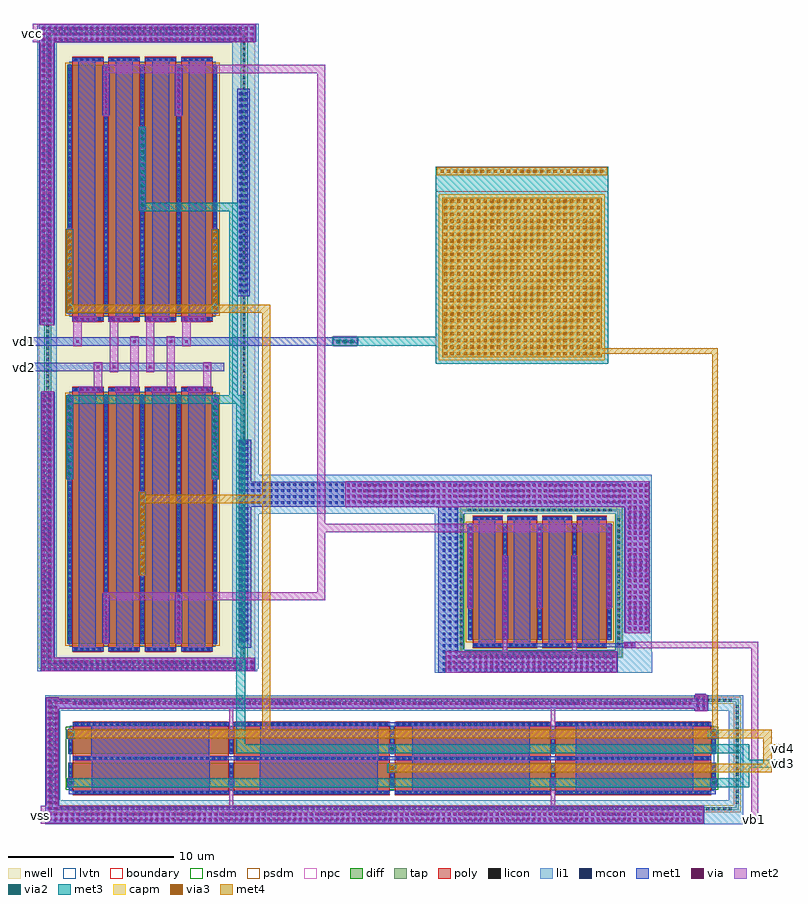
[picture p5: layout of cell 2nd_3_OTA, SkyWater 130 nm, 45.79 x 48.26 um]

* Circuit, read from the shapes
.subckt 2nd_3_OTA vb1 vcc vd1 vd2 vd3 vd4 vss
XM1 vss vd3 vd3 vss sky130_fd_pr__nfet_01v8_lvt w=1.5 l=9.4 m=4
XM2 vss vd3 vd4 vss sky130_fd_pr__nfet_01v8_lvt w=1.5 l=9.4 m=4
XM3 n1 vd2 vd3 vcc sky130_fd_pr__pfet_01v8_lvt w=15 l=1.9 m=4
XM4 n1 vd1 vd4 vcc sky130_fd_pr__pfet_01v8_lvt w=15 l=1.9 m=4
XM5 vcc vb1 n1 vcc sky130_fd_pr__pfet_01v8 w=7 l=1.8 m=4
XC6 vd4 vd1 sky130_fd_pr__cap_mim_m3_1 w=10 l=10
.ends

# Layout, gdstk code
from math import pi, radians
import gdstk
lib = gdstk.Library(unit=1e-6, precision=1e-09)
def R(c, l, rs):  # rectangles x0, y0, x1, y1
    for r in rs: c.add(gdstk.rectangle(r[:2], r[2:], *l))
def A(c, l, x, y, w, h, nx, ny, dx, dy):  # array of equal rectangles
    R(c, l, [(x+i*dx, y+j*dy, x+i*dx+w, y+j*dy+h) for i in range(nx) for j in range(ny)])
nwell = (64, 20)
diff = (65, 20)
tap = (65, 44)
poly = (66, 20)
licon = (66, 44)
li1 = (67, 20)
mcon = (67, 44)
met1 = (68, 20)
via = (68, 44)
met2 = (69, 20)
via2 = (69, 44)
met3 = (70, 20)
via3 = (70, 44)
met4 = (71, 20)
capm = (89, 44)
nsdm = (93, 44)
psdm = (94, 20)
npc = (95, 20)
lvtn = (125, 44)
boundary = (235, 4)

sky130_fd_pr__nfet_01v8_ = lib.new_cell('sky130_fd_pr__nfet_01v8_lvt_AR4WA2')
R(sky130_fd_pr__nfet_01v8_, diff, [(-4.99,-0.75,4.99,0.75)])
R(sky130_fd_pr__nfet_01v8_, poly, [(-4.7,-1.19,4.7,1.19)])
A(sky130_fd_pr__nfet_01v8_, licon, -4.505, -1.11, 0.17, 0.17, 27, 2, 0.34, 2.05)
A(sky130_fd_pr__nfet_01v8_, licon, -4.93, -0.595, 0.17, 0.17, 1, 4, 0, 0.34)
A(sky130_fd_pr__nfet_01v8_, licon, 4.76, -0.595, 0.17, 0.17, 1, 4, 0, 0.34)
R(sky130_fd_pr__nfet_01v8_, li1, [(-4.7,-1.11,4.7,-0.94), (-4.93,-0.77,-4.76,0.77), (4.76,-0.77,4.93,0.77), (-4.7,0.94,4.7,1.11)])
A(sky130_fd_pr__nfet_01v8_, mcon, -4.585, -1.11, 0.17, 0.17, 26, 2, 0.36, 2.05)
A(sky130_fd_pr__nfet_01v8_, mcon, -4.93, -0.625, 0.17, 0.17, 1, 4, 0, 0.36)
A(sky130_fd_pr__nfet_01v8_, mcon, 4.76, -0.625, 0.17, 0.17, 1, 4, 0, 0.36)
R(sky130_fd_pr__nfet_01v8_, met1, [(-4.68,-1.14,4.68,-0.91), (-4.96,-0.75,-4.73,0.75), (4.73,-0.75,4.96,0.75), (-4.68,0.91,4.68,1.14)])
R(sky130_fd_pr__nfet_01v8_, nsdm, [(-5.115,-0.875,5.115,0.875)])
R(sky130_fd_pr__nfet_01v8_, npc, [(-4.605,-1.21,4.605,-0.84), (-4.605,0.84,4.605,1.21)])
R(sky130_fd_pr__nfet_01v8_, lvtn, [(-4.88,-0.93,4.88,0.93)])

sky130_fd_pr__pfet_01v8_ = lib.new_cell('sky130_fd_pr__pfet_01v8_lvt_NH7ZMU')
R(sky130_fd_pr__pfet_01v8_, nwell, [(-1.42,-8,1.42,8)])
R(sky130_fd_pr__pfet_01v8_, diff, [(-1.24,-7.5,1.24,7.5)])
R(sky130_fd_pr__pfet_01v8_, poly, [(-0.95,-7.985,0.95,7.985)])
A(sky130_fd_pr__pfet_01v8_, licon, -0.765, -7.905, 0.17, 0.17, 5, 2, 0.34, 15.64)
A(sky130_fd_pr__pfet_01v8_, licon, -1.18, -7.395, 0.17, 0.17, 1, 44, 0, 0.34)
A(sky130_fd_pr__pfet_01v8_, licon, 1.01, -7.395, 0.17, 0.17, 1, 44, 0, 0.34)
R(sky130_fd_pr__pfet_01v8_, li1, [(-0.95,-7.905,0.95,-7.735), (-1.18,-7.52,-1.01,7.52), (1.01,-7.52,1.18,7.52), (-0.95,7.735,0.95,7.905)])
A(sky130_fd_pr__pfet_01v8_, mcon, -0.805, -7.905, 0.17, 0.17, 5, 2, 0.36, 15.64)
A(sky130_fd_pr__pfet_01v8_, mcon, -1.18, -7.285, 0.17, 0.17, 1, 41, 0, 0.36)
A(sky130_fd_pr__pfet_01v8_, mcon, 1.01, -7.285, 0.17, 0.17, 1, 41, 0, 0.36)
R(sky130_fd_pr__pfet_01v8_, met1, [(-0.93,-7.935,0.93,-7.705), (-1.21,-7.5,-0.98,7.5), (0.98,-7.5,1.21,7.5), (-0.93,7.705,0.93,7.935)])
R(sky130_fd_pr__pfet_01v8_, psdm, [(-1.365,-7.625,1.365,7.625)])
R(sky130_fd_pr__pfet_01v8_, npc, [(-0.865,-8.005,0.865,-7.635), (-0.865,7.635,0.865,8.005)])
R(sky130_fd_pr__pfet_01v8_, lvtn, [(-1.13,-7.68,1.13,7.68)])

c_sky130_fd_pr__pfet_01v8_ = lib.new_cell('sky130_fd_pr__pfet_01v8_6JHA76')
R(c_sky130_fd_pr__pfet_01v8_, nwell, [(-5.015,-4.595,5.015,4.595)])
R(c_sky130_fd_pr__pfet_01v8_, diff, [(-4.325,-3.5,4.325,3.5)])
R(c_sky130_fd_pr__pfet_01v8_, tap, [(-4.835,-4.415,4.835,-4.245), (-4.835,-4.245,-4.665,4.245), (4.665,-4.245,4.835,4.245), (-4.835,4.245,4.835,4.415)])
A(c_sky130_fd_pr__pfet_01v8_, poly, -4.035, -3.985, 1.8, 7.97, 4, 1, 2.09, 0)
A(c_sky130_fd_pr__pfet_01v8_, licon, -4.335, -4.415, 0.17, 0.17, 26, 2, 0.34, 8.66)
A(c_sky130_fd_pr__pfet_01v8_, licon, -3.9, -3.905, 0.17, 0.17, 5, 2, 0.34, 7.64)
A(c_sky130_fd_pr__pfet_01v8_, licon, -1.81, -3.905, 0.17, 0.17, 5, 2, 0.34, 7.64)
A(c_sky130_fd_pr__pfet_01v8_, licon, 0.28, -3.905, 0.17, 0.17, 5, 2, 0.34, 7.64)
A(c_sky130_fd_pr__pfet_01v8_, licon, 2.37, -3.905, 0.17, 0.17, 5, 2, 0.34, 7.64)
A(c_sky130_fd_pr__pfet_01v8_, licon, -4.835, -3.825, 0.17, 0.17, 1, 23, 0, 0.34)
A(c_sky130_fd_pr__pfet_01v8_, licon, 4.665, -3.825, 0.17, 0.17, 1, 23, 0, 0.34)
A(c_sky130_fd_pr__pfet_01v8_, licon, -4.265, -3.315, 0.17, 0.17, 5, 20, 2.09, 0.34)
A(c_sky130_fd_pr__pfet_01v8_, li1, -4.035, -3.905, 1.8, 0.17, 4, 2, 2.09, 7.64)
A(c_sky130_fd_pr__pfet_01v8_, li1, -4.265, -3.52, 0.17, 7.04, 5, 1, 2.09, 0)
R(c_sky130_fd_pr__pfet_01v8_, li1, [(-4.835,-4.415,4.835,-4.245), (-4.835,-4.245,-4.665,4.245), (4.665,-4.245,4.835,4.245), (-4.835,4.245,4.835,4.415)])
A(c_sky130_fd_pr__pfet_01v8_, mcon, -3.94, -3.905, 0.17, 0.17, 5, 2, 0.36, 7.64)
A(c_sky130_fd_pr__pfet_01v8_, mcon, -1.85, -3.905, 0.17, 0.17, 5, 2, 0.36, 7.64)
A(c_sky130_fd_pr__pfet_01v8_, mcon, 0.24, -3.905, 0.17, 0.17, 5, 2, 0.36, 7.64)
A(c_sky130_fd_pr__pfet_01v8_, mcon, 2.33, -3.905, 0.17, 0.17, 5, 2, 0.36, 7.64)
A(c_sky130_fd_pr__pfet_01v8_, mcon, -4.265, -3.325, 0.17, 0.17, 5, 19, 2.09, 0.36)
A(c_sky130_fd_pr__pfet_01v8_, met1, -4.015, -3.935, 1.76, 0.23, 4, 2, 2.09, 7.64)
A(c_sky130_fd_pr__pfet_01v8_, met1, -4.295, -3.5, 0.23, 7, 5, 1, 2.09, 0)
R(c_sky130_fd_pr__pfet_01v8_, nsdm, [(-4.96,-4.54,4.96,-4.12), (-4.96,-4.12,-4.54,4.12), (4.54,-4.12,4.96,4.12), (-4.96,4.12,4.96,4.54)])
R(c_sky130_fd_pr__pfet_01v8_, psdm, [(-4.45,-3.625,4.45,3.625)])
A(c_sky130_fd_pr__pfet_01v8_, npc, -4, -4.005, 1.73, 0.37, 4, 2, 2.09, 7.64)
R(c_sky130_fd_pr__pfet_01v8_, boundary, [(-4.75,-4.33,4.75,4.33)])

sky130_fd_pr__cap_mim_m3 = lib.new_cell('sky130_fd_pr__cap_mim_m3_1_FGZHLY')
R(sky130_fd_pr__cap_mim_m3, met3, [(-5.93,-5.2,5.93,5.2)])
A(sky130_fd_pr__cap_mim_m3, via3, 5.57, -4.9, 0.2, 0.2, 1, 25, 0, 0.4)
A(sky130_fd_pr__cap_mim_m3, via3, -5.43, -4.7, 0.2, 0.2, 24, 24, 0.4, 0.4)
R(sky130_fd_pr__cap_mim_m3, met4, [(5.43,-5.14,5.91,5.14), (-5.535,-4.805,4.075,4.805)])
R(sky130_fd_pr__cap_mim_m3, capm, [(-5.73,-5,4.27,5)])
R(sky130_fd_pr__cap_mim_m3, boundary, [(-5.93,-5.2,4.47,5.2)])

c_2nd_3_ota = lib.new_cell('2nd_3_OTA')
R(c_2nd_3_ota, nwell, [(32.36,-16.31,45.425,22.485)])
R(c_2nd_3_ota, tap, [(33.085,-24.825,74.53,-24.655), (33.085,-24.655,33.255,-18.28), (74.36,-24.655,74.53,-18.28), (33.085,-18.28,74.53,-18.11), (32.825,-16.12,44.825,-15.95), (32.825,-15.95,32.995,21.985), (44.655,-15.95,44.825,21.985), (32.825,21.985,44.825,22.155)])
A(c_2nd_3_ota, licon, 33.49, -24.825, 0.17, 0.17, 120, 2, 0.34, 6.545)
A(c_2nd_3_ota, licon, 33.085, -24.445, 0.17, 0.17, 1, 18, 0, 0.34)
A(c_2nd_3_ota, licon, 74.36, -24.445, 0.17, 0.17, 1, 18, 0, 0.34)
A(c_2nd_3_ota, licon, 33.13, -16.12, 0.17, 0.17, 34, 2, 0.34, 38.105)
A(c_2nd_3_ota, licon, 32.825, -15.77, 0.17, 0.17, 1, 111, 0, 0.34)
A(c_2nd_3_ota, licon, 44.655, -15.77, 0.17, 0.17, 1, 111, 0, 0.34)
R(c_2nd_3_ota, li1, [(32.81,-25.685,74.8,-25.68), (32.765,-25.68,74.8,-24.235), (32.765,-24.235,33.655,-18.845), (73.955,-24.235,74.8,-18.845), (32.765,-18.845,74.8,-17.91), (56.23,-16.55,69.33,-15.27), (32.285,-16.44,45.54,-16.305), (32.285,-16.305,45.61,-15.615), (32.285,-15.615,33.455,21.4), (44.03,-15.615,45.61,-6.955), (56.23,-15.27,69.31,-15.17), (56.23,-15.17,57.94,-6.955), (67.14,-15.17,69.31,-6.955), (44.03,-6.955,69.31,-4.625), (44.03,-4.625,45.61,21.4), (32.285,21.4,45.61,22.57)])
A(c_2nd_3_ota, mcon, 32.905, -25.53, 0.17, 0.17, 110, 3, 0.36, 0.36)
A(c_2nd_3_ota, mcon, 32.905, -24.45, 0.17, 0.17, 1, 17, 0, 0.36)
A(c_2nd_3_ota, mcon, 33.265, -24.45, 0.17, 0.17, 1, 17, 0, 0.36)
A(c_2nd_3_ota, mcon, 34.445, -18.485, 0.17, 0.17, 104, 1, 0.36, 0)
A(c_2nd_3_ota, mcon, 32.905, -18.33, 0.17, 0.17, 4, 1, 0.36, 0)
A(c_2nd_3_ota, mcon, 56.705, -16.45, 0.17, 0.17, 29, 3, 0.36, 0.36)
A(c_2nd_3_ota, mcon, 32.56, -16.39, 0.17, 0.17, 36, 2, 0.36, 0.36)
A(c_2nd_3_ota, mcon, 32.56, -15.67, 0.17, 0.17, 1, 45, 0, 0.36)
A(c_2nd_3_ota, mcon, 32.92, -15.67, 0.17, 0.17, 1, 45, 0, 0.36)
A(c_2nd_3_ota, mcon, 56.705, -15.37, 0.17, 0.17, 3, 25, 0.36, 0.36)
A(c_2nd_3_ota, mcon, 44.465, -14.65, 0.17, 0.17, 1, 23, 0, 0.36)
A(c_2nd_3_ota, mcon, 44.825, -14.65, 0.17, 0.17, 1, 23, 0, 0.36)
A(c_2nd_3_ota, mcon, 67.865, -13.93, 0.17, 0.17, 4, 21, 0.36, 0.36)
A(c_2nd_3_ota, mcon, 44.465, -6.37, 0.17, 0.17, 69, 4, 0.36, 0.36)
A(c_2nd_3_ota, mcon, 44.465, -4.93, 0.17, 0.17, 1, 7, 0, 0.36)
A(c_2nd_3_ota, mcon, 44.825, -4.93, 0.17, 0.17, 1, 7, 0, 0.36)
A(c_2nd_3_ota, mcon, 32.55, 4.57, 0.17, 0.17, 1, 47, 0, 0.36)
A(c_2nd_3_ota, mcon, 32.91, 4.57, 0.17, 0.17, 1, 47, 0, 0.36)
A(c_2nd_3_ota, mcon, 44.445, 6.37, 0.17, 0.17, 1, 34, 0, 0.36)
A(c_2nd_3_ota, mcon, 44.805, 6.37, 0.17, 0.17, 1, 34, 0, 0.36)
A(c_2nd_3_ota, mcon, 32.55, 21.49, 0.17, 0.17, 36, 3, 0.36, 0.36)
R(c_2nd_3_ota, mcon, [(71.97,-18.58,72.14,-18.41), (72.33,-18.58,72.5,-18.41), (71.97,-18.22,72.14,-18.05), (72.33,-18.22,72.5,-18.05)])
A(c_2nd_3_ota, met1, 58.195, -12.63, 0.36, 5, 3, 1, 4.18, 0)
A(c_2nd_3_ota, met1, 34.745, 0.39, 1.5, 0.26, 4, 1, 2.19, 0)
A(c_2nd_3_ota, met1, 34.405, 4.635, 1.5, 0.26, 4, 1, 2.19, 0)
R(c_2nd_3_ota, met1, [(32.755,-25.625,72.47,-24.58), (32.755,-24.58,34.08,-24.575), (32.765,-24.575,33.6,-18.685), (34.165,-23.87,34.555,-23.64), (72.76,-23.87,73.155,-23.64), (35.565,-23.695,42.66,-21.79), (45.695,-23.675,52.79,-21.77), (54.86,-23.675,61.955,-21.77), (64.71,-23.655,71.805,-21.75), (34.165,-23.64,34.395,-23.47), (72.925,-23.64,73.155,-23.455), (34.07,-23.42,34.49,-22.92), (43.79,-23.42,44.15,-22.92), (63.17,-23.42,63.53,-22.92), (72.83,-23.42,73.25,-22.92), (53.45,-22.54,53.87,-22.04), (43.795,-21.82,44.19,-21.59), (53.485,-21.82,53.88,-21.59), (63.18,-21.82,63.575,-21.59), (35.545,-21.625,42.64,-19.72), (45.715,-21.625,52.81,-19.72), (64.71,-21.625,71.805,-19.72), (54.86,-21.6,61.955,-19.695), (53.45,-21.37,53.87,-20.87), (34.07,-20.49,34.49,-19.99), (43.79,-20.49,44.15,-19.99), (63.17,-20.49,63.53,-19.99), (72.83,-20.49,73.25,-19.99), (53.545,-19.97,53.775,-19.77), (53.44,-19.77,53.905,-19.54), (71.865,-18.825,72.7,-18.685), (32.765,-18.685,72.7,-18.11), (32.765,-18.11,34.255,-18.105), (71.865,-18.11,72.7,-17.91), (32.765,-18.105,33.6,-18.095), (32.785,-18.095,33.58,-18.035), (71.915,-17.91,72.555,-17.815), (56.425,-16.53,57.65,-16.51), (56.425,-16.51,67.255,-15.27), (32.505,-16.46,33.31,-16.435), (32.505,-16.435,45.42,-16.4), (32.485,-16.4,45.42,-15.655), (32.485,-15.655,33.33,-15.52), (32.49,-15.52,33.33,0.36), (56.425,-15.27,57.65,-6.55), (39.22,-15.04,40.245,0.39), (44.405,-15.03,45.175,-6.55), (67.595,-15.025,68.315,-15.005), (34.775,-15.02,35.8,0.39), (37.04,-15.02,38.065,0.39), (41.38,-15.02,42.405,0.39), (60.265,-15.005,60.67,-14.775), (62.375,-15.005,62.78,-14.775), (64.44,-15.005,64.845,-14.775), (66.33,-15.005,68.315,-14.775), (60.975,-14.85,61.98,-7.35), (63.09,-14.83,64.095,-7.33), (65.12,-14.83,66.125,-7.33), (58.88,-14.805,59.885,-7.305), (67.595,-14.775,68.315,-14.73), (36.19,-14.74,36.65,-11.74), (40.565,-14.74,41.025,-11.74), (60.285,-14.51,60.645,-9.51), (64.465,-14.51,64.825,-9.51), (67.68,-14.16,69.175,-14.1), (67.66,-14.1,69.195,-6.55), (38.4,-10.66,38.82,-5.66), (44.405,-6.55,69.195,-5.065), (44.405,-5.065,69.175,-5.03), (44.405,-5.03,45.175,-2.51), (67.68,-5.03,69.175,-5.005), (34.02,-4.86,34.44,0.14), (42.78,-4.86,43.2,0.14), (32.51,0.36,33.31,0.42), (31.48,1.625,43.55,2.125), (31.48,3.17,51.61,3.67), (32.425,4.39,33.31,4.45), (32.405,4.45,33.33,21.46), (34.755,4.895,35.78,20.345), (37.02,4.895,38.045,20.345), (39.2,4.895,40.225,20.345), (41.4,4.895,42.425,20.32), (34.015,5.145,34.435,10.145), (42.78,5.145,43.2,10.145), (44.325,6.135,45.095,18.655), (38.4,11.33,38.82,16.33), (36.19,17.025,36.65,20.025), (40.57,17.025,41.03,20.025), (32.395,21.46,45.475,22.535)])
A(c_2nd_3_ota, via, 33.015, -25.44, 0.15, 0.15, 123, 2, 0.32, 0.32)
A(c_2nd_3_ota, via, 33.015, -24.8, 0.15, 0.15, 1, 20, 0, 0.32)
A(c_2nd_3_ota, via, 33.335, -24.8, 0.15, 0.15, 1, 20, 0, 0.32)
A(c_2nd_3_ota, via, 72.045, -18.765, 0.15, 0.15, 1, 3, 0, 0.32)
A(c_2nd_3_ota, via, 72.365, -18.765, 0.15, 0.15, 1, 3, 0, 0.32)
A(c_2nd_3_ota, via, 34.42, -18.475, 0.15, 0.15, 117, 1, 0.32, 0)
A(c_2nd_3_ota, via, 33.015, -18.4, 0.15, 0.15, 4, 1, 0.32, 0)
A(c_2nd_3_ota, via, 57, -16.285, 0.15, 0.15, 32, 3, 0.32, 0.32)
A(c_2nd_3_ota, via, 32.63, -16.26, 0.15, 0.15, 40, 2, 0.32, 0.32)
A(c_2nd_3_ota, via, 32.63, -15.62, 0.15, 0.15, 1, 50, 0, 0.32)
A(c_2nd_3_ota, via, 32.95, -15.62, 0.15, 0.15, 1, 50, 0, 0.32)
A(c_2nd_3_ota, via, 36.345, -14.595, 0.15, 0.15, 1, 9, 0, 0.32)
A(c_2nd_3_ota, via, 40.72, -14.595, 0.15, 0.15, 1, 9, 0, 0.32)
A(c_2nd_3_ota, via, 60.39, -14.325, 0.15, 0.15, 1, 15, 0, 0.32)
A(c_2nd_3_ota, via, 64.57, -14.325, 0.15, 0.15, 1, 15, 0, 0.32)
A(c_2nd_3_ota, via, 67.91, -13.98, 0.15, 0.15, 4, 24, 0.32, 0.32)
A(c_2nd_3_ota, via, 58.3, -12.445, 0.15, 0.15, 3, 15, 4.18, 0.32)
A(c_2nd_3_ota, via, 38.535, -10.475, 0.15, 0.15, 1, 15, 0, 0.32)
A(c_2nd_3_ota, via, 50.95, -6.3, 0.15, 0.15, 57, 4, 0.32, 0.32)
A(c_2nd_3_ota, via, 34.155, -4.675, 0.15, 0.15, 1, 15, 0, 0.32)
A(c_2nd_3_ota, via, 42.915, -4.675, 0.15, 0.15, 1, 15, 0, 0.32)
A(c_2nd_3_ota, via, 34.94, 0.445, 0.15, 0.15, 4, 1, 0.32, 0)
A(c_2nd_3_ota, via, 37.13, 0.445, 0.15, 0.15, 4, 1, 0.32, 0)
A(c_2nd_3_ota, via, 39.32, 0.445, 0.15, 0.15, 4, 1, 0.32, 0)
A(c_2nd_3_ota, via, 41.51, 0.445, 0.15, 0.15, 4, 1, 0.32, 0)
A(c_2nd_3_ota, via, 50.3, 3.345, 0.15, 0.15, 4, 1, 0.32, 0)
A(c_2nd_3_ota, via, 32.62, 4.6, 0.15, 0.15, 1, 53, 0, 0.32)
A(c_2nd_3_ota, via, 32.94, 4.6, 0.15, 0.15, 1, 53, 0, 0.32)
A(c_2nd_3_ota, via, 34.6, 4.69, 0.15, 0.15, 4, 1, 0.32, 0)
A(c_2nd_3_ota, via, 36.79, 4.69, 0.15, 0.15, 4, 1, 0.32, 0)
A(c_2nd_3_ota, via, 38.98, 4.69, 0.15, 0.15, 4, 1, 0.32, 0)
A(c_2nd_3_ota, via, 41.17, 4.69, 0.15, 0.15, 4, 1, 0.32, 0)
A(c_2nd_3_ota, via, 34.15, 5.33, 0.15, 0.15, 1, 15, 0, 0.32)
A(c_2nd_3_ota, via, 42.915, 5.33, 0.15, 0.15, 1, 15, 0, 0.32)
A(c_2nd_3_ota, via, 38.535, 11.515, 0.15, 0.15, 1, 15, 0, 0.32)
A(c_2nd_3_ota, via, 36.345, 17.17, 0.15, 0.15, 1, 9, 0, 0.32)
A(c_2nd_3_ota, via, 40.725, 17.17, 0.15, 0.15, 1, 9, 0, 0.32)
A(c_2nd_3_ota, via, 32.62, 21.56, 0.15, 0.15, 40, 3, 0.32, 0.32)
R(c_2nd_3_ota, via, [(34.205,-23.245,34.355,-23.095), (43.895,-23.245,44.045,-23.095), (63.275,-23.245,63.425,-23.095), (72.965,-23.245,73.115,-23.095), (53.585,-22.365,53.735,-22.215), (53.585,-21.195,53.735,-21.045), (34.205,-20.315,34.355,-20.165), (43.895,-20.315,44.045,-20.165), (63.275,-20.315,63.425,-20.165), (72.965,-20.315,73.115,-20.165), (67.72,-14.955,67.87,-14.805), (68.04,-14.955,68.19,-14.805), (35.87,1.8,36.02,1.95), (36.82,1.8,36.97,1.95), (39.01,1.8,39.16,1.95), (42.44,1.8,42.59,1.95), (34.63,3.345,34.78,3.495), (38.06,3.345,38.21,3.495), (40.25,3.345,40.4,3.495), (41.2,3.345,41.35,3.495)])
A(c_2nd_3_ota, met2, 58.245, -12.68, 0.26, 4.6, 3, 1, 4.18, 0)
A(c_2nd_3_ota, met2, 34.795, 0.34, 1.4, 0.36, 4, 1, 2.19, 0)
A(c_2nd_3_ota, met2, 34.455, 4.585, 1.4, 0.36, 4, 1, 2.19, 0)
R(c_2nd_3_ota, met2, [(32.485,-25.645,72.41,-24.56), (75.31,-25.415,75.705,-15.075), (32.485,-24.56,34.02,-24.555), (43.84,-24.56,44.1,-22.87), (63.22,-24.56,63.48,-22.87), (32.815,-24.555,33.55,-18.705), (34.12,-23.47,34.44,-22.87), (72.88,-23.47,73.2,-22.87), (53.5,-22.59,53.82,-21.99), (53.5,-21.42,53.82,-20.82), (34.12,-20.54,34.44,-19.94), (43.84,-20.54,44.1,-18.705), (63.22,-20.54,63.48,-18.705), (72.88,-20.54,73.2,-19.94), (71.915,-18.875,72.65,-18.705), (32.815,-18.705,72.65,-18.09), (32.815,-18.09,34.195,-18.085), (71.915,-18.09,72.65,-17.86), (32.815,-18.085,33.55,-18.045), (56.88,-16.53,67.195,-15.25), (33.1,-16.455,45.36,-16.45), (32.535,-16.45,45.36,-15.635), (32.535,-15.635,33.28,-15.47), (32.54,-15.47,33.28,0.41), (60.335,-15.25,60.595,-9.46), (64.515,-15.25,64.775,-9.46), (67.645,-15.075,75.705,-14.68), (36.24,-14.79,36.6,-12.185), (40.615,-14.79,40.975,-12.185), (67.71,-14.15,69.145,-6.57), (42.6,-12.19,49.645,-12.185), (36.24,-12.185,49.645,-11.69), (36.24,-11.69,43.24,-11.685), (49.145,-11.69,49.645,-8.08), (38.45,-10.71,38.77,-5.61), (49.145,-8.08,66.865,-7.58), (49.145,-7.58,49.645,19.575), (50.83,-6.57,69.145,-5.015), (34.07,-4.91,34.39,0.19), (42.83,-4.91,43.15,0.19), (35.695,0.7,36.195,2.175), (37.885,0.7,38.385,3.72), (40.075,0.7,40.575,3.72), (42.265,0.7,42.765,2.175), (36.645,1.575,37.145,4.585), (38.835,1.575,39.335,4.585), (34.455,3.12,34.955,4.585), (41.025,3.12,41.525,4.585), (50.1,3.12,51.56,3.72), (32.455,4.4,33.28,21.435), (34.065,5.095,34.385,10.195), (42.83,5.095,43.15,10.195), (38.45,11.28,38.77,16.38), (36.24,16.975,36.6,19.575), (40.62,16.975,40.98,19.575), (36.24,19.575,49.645,20.075), (32.01,21.435,33.28,21.44), (32.01,21.44,45.415,22.555)])
A(c_2nd_3_ota, via2, 38.51, -10.46, 0.2, 0.2, 1, 12, 0, 0.4)
A(c_2nd_3_ota, via2, 34.13, -4.66, 0.2, 0.2, 1, 12, 0, 0.4)
A(c_2nd_3_ota, via2, 42.89, -4.66, 0.2, 0.2, 1, 12, 0, 0.4)
A(c_2nd_3_ota, via2, 50.33, 3.32, 0.2, 0.2, 3, 1, 0.4, 0)
A(c_2nd_3_ota, via2, 34.125, 5.345, 0.2, 0.2, 1, 12, 0, 0.4)
A(c_2nd_3_ota, via2, 42.89, 5.345, 0.2, 0.2, 1, 12, 0, 0.4)
A(c_2nd_3_ota, via2, 38.51, 11.53, 0.2, 0.2, 1, 12, 0, 0.4)
R(c_2nd_3_ota, via2, [(34.18,-23.27,34.38,-23.07), (72.94,-23.27,73.14,-23.07), (53.56,-22.39,53.76,-22.19), (53.56,-21.22,53.76,-21.02), (34.18,-20.34,34.38,-20.14), (72.94,-20.34,73.14,-20.14)])
R(c_2nd_3_ota, met3, [(34.07,-23.445,75.18,-22.895), (74.63,-22.895,75.18,-22.275), (53.37,-22.565,53.945,-22.015), (74.63,-22.275,77.27,-21.775), (74.63,-21.775,75.18,-21.395), (44.265,-21.395,75.18,-20.845), (44.265,-20.845,44.815,-0.335), (34.035,-20.515,34.525,-19.965), (72.69,-20.515,73.33,-19.965), (38.4,-10.685,38.82,-5.635), (34.02,-4.885,34.44,-0.335), (42.78,-4.885,43.2,-0.335), (34.02,-0.335,44.815,0.165), (43.86,0.165,44.815,0.18), (43.86,0.18,44.36,11.26), (50.05,3.145,56.35,3.695), (34.015,5.12,34.435,10.17), (42.78,5.12,43.2,10.17), (38.47,11.26,44.36,11.305), (38.4,11.305,44.36,11.76), (38.4,11.76,38.82,16.355)])
A(c_2nd_3_ota, via3, 38.51, -10.46, 0.2, 0.2, 1, 12, 0, 0.4)
A(c_2nd_3_ota, via3, 34.125, 5.345, 0.2, 0.2, 1, 12, 0, 0.4)
A(c_2nd_3_ota, via3, 42.89, 5.345, 0.2, 0.2, 1, 12, 0, 0.4)
R(c_2nd_3_ota, via3, [(53.56,-22.39,53.76,-22.19), (34.18,-20.34,34.38,-20.14), (72.94,-20.34,73.14,-20.14)])
R(c_2nd_3_ota, met4, [(53.495,-22.545,76.52,-22.035), (76.01,-22.035,76.52,-21.345), (76.01,-21.345,77.27,-20.845), (76.01,-20.845,76.52,-20.495), (34.115,-20.495,76.52,-19.985), (45.83,-19.985,46.33,-6.33), (72.955,-19.985,73.285,-6.29), (38.445,-10.665,38.775,-6.33), (38.445,-6.33,46.33,-5.83), (72.955,-6.29,73.29,-5.9), (72.96,-5.9,73.29,2.665), (38.445,-5.83,38.775,-5.655), (45.83,-5.83,46.33,5.14), (66.25,2.665,73.29,2.995), (34.06,5.14,46.33,5.64), (34.06,5.64,34.39,10.15), (42.825,5.64,43.155,10.15)])
R(c_2nd_3_ota, nsdm, [(34.01,-21.855,73.31,-21.555), (32.7,-16.245,44.95,-15.825), (32.7,-15.825,33.12,21.86), (44.53,-15.825,44.95,21.86), (32.7,21.86,44.95,22.28)])
R(c_2nd_3_ota, psdm, [(32.96,-24.95,74.655,-24.53), (32.96,-24.53,33.38,-18.405), (74.235,-24.53,74.655,-18.405), (32.96,-18.405,74.655,-17.985)])
R(c_2nd_3_ota, lvtn, [(34.245,-21.8,73.075,-21.61)])
c_2nd_3_ota.add(gdstk.Reference(sky130_fd_pr__nfet_01v8_, (39.125,-20.68)))
c_2nd_3_ota.add(gdstk.Reference(sky130_fd_pr__nfet_01v8_, (58.505,-22.73)))
c_2nd_3_ota.add(gdstk.Reference(sky130_fd_pr__nfet_01v8_, (58.505,-20.68)))
c_2nd_3_ota.add(gdstk.Reference(sky130_fd_pr__nfet_01v8_, (48.815,-20.68)))
c_2nd_3_ota.add(gdstk.Reference(sky130_fd_pr__nfet_01v8_, (68.195,-22.73)))
c_2nd_3_ota.add(gdstk.Reference(sky130_fd_pr__pfet_01v8_, (37.515,-7.3)))
c_2nd_3_ota.add(gdstk.Reference(sky130_fd_pr__pfet_01v8_, (41.895,-7.3)))
c_2nd_3_ota.add(gdstk.Reference(sky130_fd_pr__nfet_01v8_, (48.815,-22.73)))
c_2nd_3_ota.add(gdstk.Reference(sky130_fd_pr__nfet_01v8_, (39.125,-22.73)))
c_2nd_3_ota.add(gdstk.Reference(sky130_fd_pr__pfet_01v8_, (35.325,12.585)))
c_2nd_3_ota.add(gdstk.Reference(sky130_fd_pr__pfet_01v8_, (35.325,-7.3)))
c_2nd_3_ota.add(gdstk.Reference(sky130_fd_pr__pfet_01v8_, (39.705,12.585)))
c_2nd_3_ota.add(gdstk.Reference(sky130_fd_pr__pfet_01v8_, (37.515,12.585)))
c_2nd_3_ota.add(gdstk.Reference(c_sky130_fd_pr__pfet_01v8_, (62.555,-11.07)))
c_2nd_3_ota.add(gdstk.Reference(sky130_fd_pr__cap_mim_m3, (61.475,8.005), rotation=pi/2))
c_2nd_3_ota.add(gdstk.Reference(sky130_fd_pr__pfet_01v8_, (41.895,12.585)))
c_2nd_3_ota.add(gdstk.Reference(sky130_fd_pr__pfet_01v8_, (39.705,-7.3)))
c_2nd_3_ota.add(gdstk.Reference(sky130_fd_pr__nfet_01v8_, (68.195,-20.68)))
c_2nd_3_ota.add(gdstk.Label('vcc', (32.015,22), layer=69, texttype=5))
c_2nd_3_ota.add(gdstk.Label('vss', (32.495,-25.13), layer=69, texttype=5))
c_2nd_3_ota.add(gdstk.Label('vd1', (31.49,3.43), layer=68, texttype=5))
c_2nd_3_ota.add(gdstk.Label('vd2', (31.485,1.855), layer=68, texttype=5))
c_2nd_3_ota.add(gdstk.Label('vd4', (77.265,-21.09), layer=71, texttype=5))
c_2nd_3_ota.add(gdstk.Label('vd3', (77.26,-22.03), layer=70, texttype=5))
c_2nd_3_ota.add(gdstk.Label('vb1', (75.49,-25.405), layer=69, texttype=5))

lib.write_gds('2nd_3_OTA.gds')
